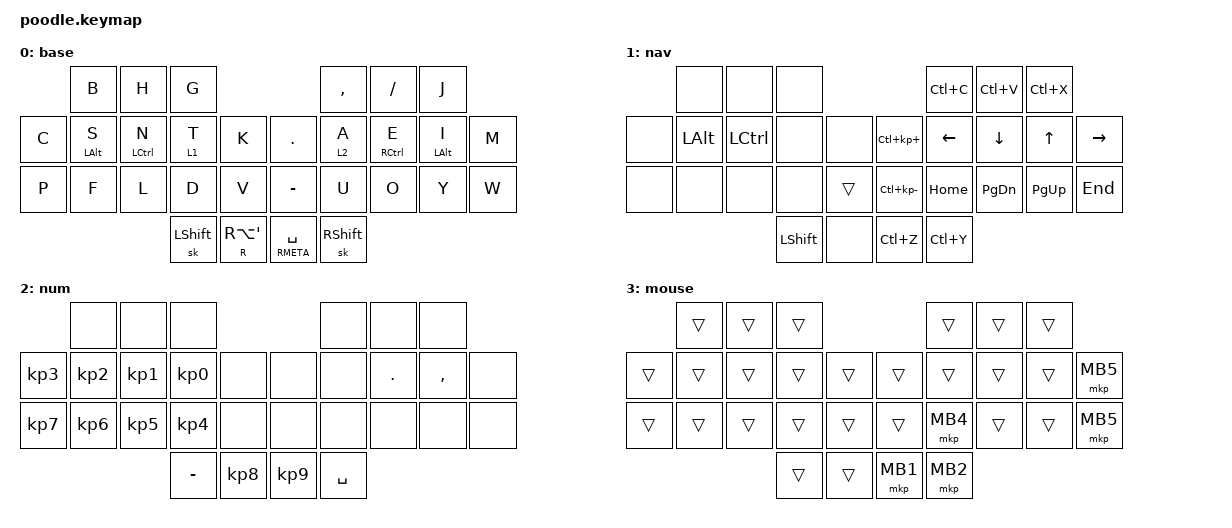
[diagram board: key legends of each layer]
/*
 * Copyright (c) 2022 The ZMK Contributors
 *
 * SPDX-License-Identifier: MIT
 */

#include <behaviors.dtsi>
#include <dt-bindings/zmk/keys.h>
#include <dt-bindings/zmk/mouse.h>

/ {
    combos {
        compatible = "zmk,combos";

        tab {
            bindings = <&kp TAB>;
            key-positions = <16 17>;
        };

        bsp {
            bindings = <&kp BACKSPACE>;
            key-positions = <17 18>;
        };

        ret {
            bindings = <&kp RET>;
            key-positions = <12 11>;
        };

        esc {
            bindings = <&kp ESCAPE>;
            key-positions = <11 13>;
        };

        del {
            bindings = <&kp DELETE>;
            key-positions = <18 9>;
        };

        plus {
            bindings = <&kp KP_PLUS>;
            key-positions = <15 5>;
        };

        grv {
            bindings = <&kp GRAVE>;
            key-positions = <14 4>;
        };

        tilde {
            bindings = <&kp TILDE>;
            key-positions = <6 7>;
        };
    };

    keymap {
        compatible = "zmk,keymap";

        base {
            bindings = <
          &kp B           &kp H        &kp G                                      &kp COMMA  &kp FSLH     &kp J      
&kp C      &mt LEFT_ALT S  &mt LCTRL N  &lt 1 T    &kp K            &kp DOT        &lt 2 A    &mt RCTRL E  &mt LALT I   &kp M
&kp P      &kp F           &kp L        &kp D      &kp V              &kp MINUS    &kp U      &kp O        &kp Y &kp W
                                    &sk LSHFT  &mt R RA(APOS)    &mt RMETA SPACE  &sk RSHFT
            >;
        };

        nav {
            bindings = <
       &none         &none      &none                                      &kp LC(C)  &kp LC(V)       &kp LC(X)     
&none  &kp LEFT_ALT  &kp LCTRL  &none           &none     &kp LC(KP_PLUS)  &kp LEFT   &kp DOWN_ARROW  &kp UP_ARROW  &kp RIGHT
&none  &none         &none      &none           &trans    &kp LC(KP_SUBTRACT)                           &kp HOME   &kp PAGE_DOWN   &kp PG_UP &kp END
                                &kp LEFT_SHIFT  &none     &kp LC(Z)            &kp LC(Y)
            >;
        };

        num {
            bindings = <
                  &none            &none            &none                   &none              &none            &none      
&kp KP_NUMBER_3   &kp KP_N2        &kp KP_NUMBER_1  &kp KP_NUMBER_0  &none              &none            &none      &kp PERIOD  &kp COMMA  &none
&kp KP_NUMBER_7   &kp KP_NUMBER_6  &kp KP_NUMBER_5  &kp KP_NUMBER_4   &none      &none       &none &none       &none &none
                                                   &kp MINUS        &kp KP_NUMBER_8    &kp KP_NUMBER_9  &kp SPACE
            >;
        };

        mouse {
            bindings = <
  &trans  &trans  &trans  &trans    &trans    &trans  
&trans  &trans  &trans  &trans  &trans    &trans    &trans    &trans  &trans  &mkp MB5
&trans        &trans  &trans  &trans   &trans       &trans            &mkp MB4  &trans  &trans &mkp MB5
                        &trans  &trans    &mkp MB1  &mkp MB2
            >;
        };
    };
};
